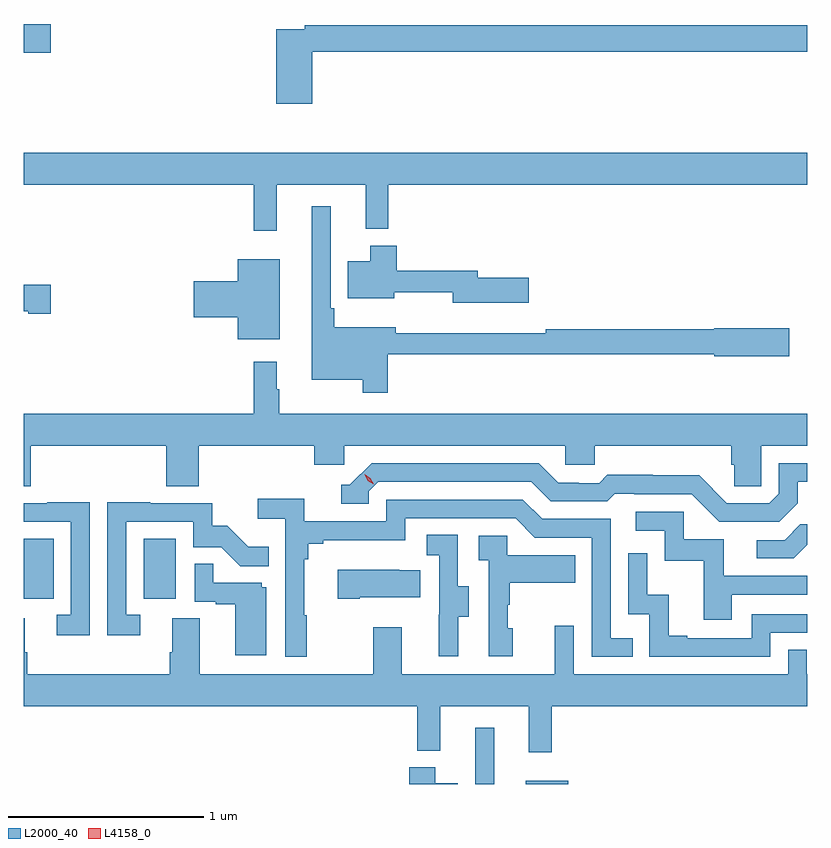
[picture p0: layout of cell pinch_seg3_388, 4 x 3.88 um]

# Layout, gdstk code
import gdstk
lib = gdstk.Library(unit=1e-6, precision=1e-09)
def R(c, l, rs):  # rectangles x0, y0, x1, y1
    for r in rs: c.add(gdstk.rectangle(r[:2], r[2:], *l))
def P(c, l, *ps):  # polygons
    for p in ps: c.add(gdstk.Polygon(p, *l))
L2000_40 = (2000, 40)
L4158_0 = (4158, 0)

pinch_seg3_388 = lib.new_cell('pinch_seg3_388')
R(pinch_seg3_388, L2000_40, [(938.907,688.532,939.004,688.819), (939.167,688.532,939.382,688.549), (936.603,689.478,936.754,689.785), (937.214,689.478,937.378,689.785), (936.603,692.267,936.739,692.414)])
P(pinch_seg3_388, L2000_40, [(938.075,692.272),(940.603,692.272),(940.603,692.408),(938.038,692.408),(938.038,692.388),(937.892,692.388),(937.892,692.007),(938.075,692.007)],
  [(937.895,691.592),(938.348,691.592),(938.348,691.367),(938.465,691.367),(938.465,691.592),(940.603,691.592),(940.603,691.756),(936.603,691.756),(936.603,691.592),(937.777,691.592),(937.777,691.359),(937.895,691.359)],
  [(938.462,690.726),(940.128,690.726),(940.128,690.718),(940.513,690.718),(940.513,690.86),(940.128,690.86),(940.128,690.854),(939.268,690.854),(939.268,690.835),(938.502,690.835),(938.502,690.865),(938.189,690.865),(938.189,690.961),(938.169,690.961),(938.169,691.483),(938.072,691.483),(938.072,690.596),(938.334,690.596),(938.334,690.531),(938.462,690.531)],
  [(939.181,691.119),(938.92,691.119),(938.92,691.153),(938.507,691.153),(938.507,691.282),(938.372,691.282),(938.372,691.201),(938.258,691.201),(938.258,691.013),(938.494,691.013),(938.494,691.043),(938.792,691.043),(938.792,690.989),(939.181,690.989)],
  [(937.909,691.213),(937.694,691.213),(937.694,691.1),(937.47,691.1),(937.47,690.917),(937.694,690.917),(937.694,690.803),(937.909,690.803)],
  [(936.739,691.082),(936.603,691.082),(936.603,690.947),(936.626,690.947),(936.626,690.935),(936.739,690.935)],
  [(936.638,690.26),(937.331,690.26),(937.331,690.052),(937.496,690.052),(937.496,690.26),(938.087,690.26),(938.087,690.162),(938.238,690.162),(938.238,690.26),(939.369,690.26),(939.369,690.162),(939.519,690.162),(939.519,690.26),(940.217,690.26),(940.217,690.162),(940.231,690.162),(940.231,690.052),(940.368,690.052),(940.368,690.26),(940.603,690.26),(940.603,690.424),(937.906,690.424),(937.906,690.548),(937.894,690.548),(937.894,690.688),(937.777,690.688),(937.777,690.424),(936.603,690.424),(936.603,690.052),(936.638,690.052)],
  [(940.555,689.965),(940.555,690.075),(940.603,690.075),(940.603,690.171),(940.458,690.171),(940.458,690.015),(940.41,689.967),(940.194,689.967),(940.052,690.109),(939.816,690.109),(939.816,690.112),(939.583,690.112),(939.541,690.069),(939.438,690.069),(939.438,690.072),(939.331,690.072),(939.232,690.171),(938.379,690.171),(938.268,690.06),(938.225,690.06),(938.225,689.964),(938.364,689.964),(938.364,690.027),(938.412,690.075),(939.195,690.075),(939.294,689.976),(939.583,689.976),(939.622,690.015),(939.721,690.015),(939.721,690.012),(940.014,690.012),(940.155,689.871),(940.461,689.871)],
  [(938.047,689.393),(938.035,689.393),(938.035,689.681),(938.054,689.681),(938.054,689.758),(938.131,689.758),(938.131,689.777),(938.55,689.777),(938.55,689.889),(939.114,689.889),(939.213,689.79),(939.504,689.79),(939.504,689.181),(939.713,689.181),(939.713,689.277),(939.6,689.277),(939.6,689.886),(939.25,689.886),(939.151,689.985),(938.454,689.985),(938.454,689.874),(938.036,689.874),(938.036,689.99),(937.797,689.99),(937.797,689.888),(937.938,689.888),(937.938,689.181),(938.047,689.181)],
  [(936.939,689.972),(936.721,689.972),(936.721,689.967),(936.603,689.967),(936.603,689.871),(936.843,689.871),(936.843,689.397),(936.771,689.397),(936.771,689.292),(936.939,689.292)],
  [(937.198,689.397),(937.125,689.397),(937.125,689.871),(937.467,689.871),(937.467,689.742),(937.611,689.742),(937.709,689.644),(937.853,689.644),(937.853,689.743),(937.749,689.743),(937.642,689.85),(937.566,689.85),(937.566,689.967),(937.247,689.967),(937.247,689.972),(937.029,689.972),(937.029,689.292),(937.198,689.292)],
  [(940.219,689.499),(940.603,689.499),(940.603,689.595),(940.177,689.595),(940.177,689.781),(939.972,689.781),(939.972,689.922),(939.729,689.922),(939.729,689.826),(939.876,689.826),(939.876,689.673),(940.075,689.673),(940.075,689.37),(940.219,689.37)],
  [(940.603,689.754),(940.603,689.858),(940.568,689.858),(940.488,689.778),(940.347,689.778),(940.347,689.685),(940.534,689.685)],
  [(938.821,689.386),(938.875,689.386),(938.875,689.541),(938.82,689.541),(938.82,689.804),(938.661,689.804),(938.661,689.701),(938.724,689.701),(938.724,689.397),(938.723,689.397),(938.723,689.184),(938.821,689.184)],
  [(939.1,689.328),(939.075,689.328),(939.075,689.447),(939.085,689.447),(939.085,689.561),(939.419,689.561),(939.419,689.701),(939.072,689.701),(939.072,689.799),(938.925,689.799),(938.925,689.675),(938.976,689.675),(938.976,689.184),(939.1,689.184)],
  [(940.416,689.304),(940.603,689.304),(940.603,689.4),(940.32,689.4),(940.32,689.277),(939.991,689.277),(939.991,689.29),(939.896,689.29),(939.896,689.498),(939.786,689.498),(939.786,689.71),(939.69,689.71),(939.69,689.4),(939.798,689.4),(939.798,689.181),(940.416,689.181)],
  [(937.84,689.538),(937.818,689.538),(937.818,689.559),(937.571,689.559),(937.571,689.657),(937.476,689.657),(937.476,689.463),(937.583,689.463),(937.583,689.451),(937.682,689.451),(937.682,689.19),(937.84,689.19)],
  [(938.317,689.486),(938.627,689.486),(938.627,689.623),(938.519,689.623),(938.519,689.626),(938.205,689.626),(938.205,689.479),(938.317,689.479)],
  [(939.299,688.928),(940.603,688.928),(940.603,689.092),(940.602,689.092),(940.602,689.219),(940.506,689.219),(940.506,689.092),(939.411,689.092),(939.411,689.341),(939.314,689.341),(939.314,689.092),(938.533,689.092),(938.533,689.332),(938.386,689.332),(938.386,689.092),(937.501,689.092),(937.501,689.378),(937.361,689.378),(937.361,689.204),(937.349,689.204),(937.349,689.092),(936.62,689.092),(936.62,689.204),(936.607,689.204),(936.607,689.378),(936.603,689.378),(936.603,688.928),(938.611,688.928),(938.611,688.703),(938.729,688.703),(938.729,688.928),(939.182,688.928),(939.182,688.695),(939.299,688.695)],
  [(938.818,688.537),(938.704,688.537),(938.704,688.618),(938.57,688.618),(938.57,688.532),(938.818,688.532)])
P(pinch_seg3_388, L4158_0, [(938.389,690.062),(938.358,690.082),(938.343,690.115),(938.343,690.115),(938.343,690.115),(938.373,690.095),(938.389,690.062),(938.389,690.062)])

lib.write_gds('pinch_seg3_388.gds')
